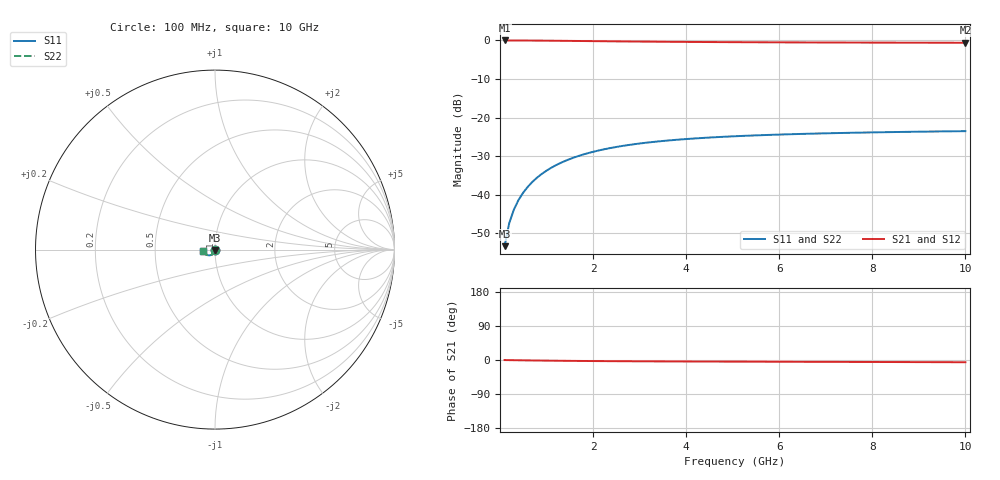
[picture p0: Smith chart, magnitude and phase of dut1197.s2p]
! Touchstone file exported from HFSS 2024.1.0
!  File:  C:/UserFiles/LocalFiles/RDL_TSV_Batchsim/temp_TSV1_1197_1780076110.aedt
!  Generated:  01:40:14 AM May 30, 2026
!  Design:  TSV1
!  Project:  temp_TSV1_1197_1780076110
!  Setup:  Setup1
!  Solution:  Sweep
! Variables:
!  dtsv = 12.66um
!  hbump = 3um
!  htsv = 93.33um
!  lrdl = 252.1521522um
!  p = 40
!  p1 = 51.48um
!  t = 500um
!  trdl = 3um
!  wrdl = 24.89489489um
# GHz S MA R 50.000000
! Terminal data exported
! Port[1] = TSV22_T1
! Port[2] = TSV22_T2
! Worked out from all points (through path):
!   100 points, 100 MHz to 10 GHz, reference 50 ohm
!   highest |S21| = 0.00 dB at 100 MHz (marker M1); lowest = -0.6 dB at 10 GHz (marker M2)
!   lowest |S11| = -53.4 dB at 100 MHz (marker M3), VSWR 1.00, Z = 50 - j0.215 ohm
!   |S11| at or under -10 dB: start of sweep to end of sweep
!   |S22| runs from -53.4 to -23.5 dB; largest |S21 - S12| = 1.1e-14
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0.1  0.002145 -89.3  0.9998 -0.2  0.9998 -0.2  0.002145 -89.3
! Gamma 0 0 0 0
! Port Impedance 50 0 50 0
0.2  0.004285 -92.5  0.9996 -0.4  0.9996 -0.4  0.004285 -92.5
0.3  0.006418 -94.8  0.9992 -0.5  0.9992 -0.5  0.006418 -94.8
0.4  0.008534 -97.0  0.9987 -0.7  0.9987 -0.7  0.008534 -97.0
0.5  0.01062 -99.0  0.998 -0.9  0.998 -0.9  0.01062 -99.0
0.6  0.01268 -101.1  0.9973 -1.0  0.9973 -1.0  0.01268 -101.1
0.7  0.0147 -103.0  0.9964 -1.2  0.9964 -1.2  0.0147 -103.0
0.8  0.01667 -104.9  0.9954 -1.3  0.9954 -1.3  0.01667 -104.9
0.9  0.01859 -106.8  0.9944 -1.5  0.9944 -1.5  0.01859 -106.8
1.1  0.02227 -110.4  0.9921 -1.8  0.9921 -1.8  0.02227 -110.4
1.4  0.02736 -115.5  0.9882 -2.2  0.9882 -2.2  0.02736 -115.5
1.6  0.03045 -118.7  0.9854 -2.4  0.9854 -2.4  0.03045 -118.7
1.8  0.0333 -121.7  0.9826 -2.6  0.9826 -2.6  0.0333 -121.7
2.1  0.03715 -125.9  0.9784 -2.9  0.9784 -2.9  0.03715 -125.9
2.5  0.04154 -130.8  0.9731 -3.1  0.9731 -3.1  0.04154 -130.8
2.9  0.04522 -135.2  0.9683 -3.4  0.9683 -3.4  0.04522 -135.2
3.4  0.049 -140.0  0.9629 -3.6  0.9629 -3.6  0.049 -140.0
4.2  0.05362 -146.4  0.9558 -4.0  0.9558 -4.0  0.05362 -146.4
5.1  0.05738 -152.2  0.9496 -4.3  0.9496 -4.3  0.05738 -152.2
6.7  0.06181 -160.2  0.942 -4.8  0.942 -4.8  0.06181 -160.2
8.4  0.06475 -166.6  0.9368 -5.4  0.9368 -5.4  0.06475 -166.6
10  0.06661 -171.5  0.9335 -5.9  0.9335 -5.9  0.06661 -171.5
